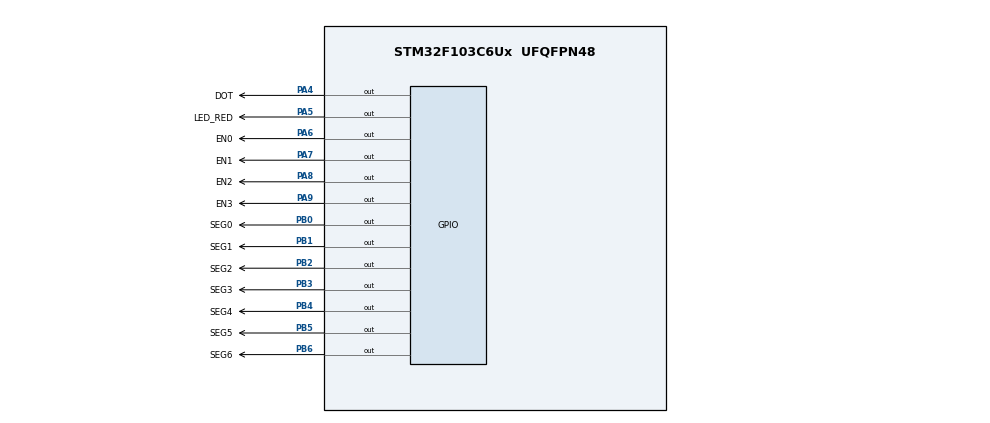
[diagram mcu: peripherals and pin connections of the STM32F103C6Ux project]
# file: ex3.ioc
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Mcu.Family=STM32F1
Mcu.Name=STM32F103C6Ux
Mcu.Package=UFQFPN48
NVIC.PriorityGroup=NVIC_PRIORITYGROUP_4
NVIC.TIM2_IRQn=true\:0\:0\:false\:false\:true\:true\:true
PA4.GPIO_Label=DOT
PA4.Signal=GPIO_Output
PA5.GPIO_Label=LED_RED
PA5.Signal=GPIO_Output
PA6.GPIO_Label=EN0
PA6.Signal=GPIO_Output
PA7.GPIO_Label=EN1
PA7.Signal=GPIO_Output
PA8.GPIO_Label=EN2
PA8.Signal=GPIO_Output
PA9.GPIO_Label=EN3
PA9.Signal=GPIO_Output
PB0.GPIO_Label=SEG0
PB0.Signal=GPIO_Output
PB1.GPIO_Label=SEG1
PB1.Signal=GPIO_Output
PB2.GPIO_Label=SEG2
PB2.Signal=GPIO_Output
PB3.GPIO_Label=SEG3
PB3.Signal=GPIO_Output
PB4.GPIO_Label=SEG4
PB4.Signal=GPIO_Output
PB5.GPIO_Label=SEG5
PB5.Signal=GPIO_Output
PB6.GPIO_Label=SEG6
PB6.Signal=GPIO_Output
ProjectManager.HeapSize=0x200
ProjectManager.StackSize=0x400
ProjectManager.TargetToolchain=STM32CubeIDE
RCC.APB1Freq_Value=8000000
RCC.APB2Freq_Value=8000000
TIM2.Period=9
TIM2.Prescaler=7999
VP_SYS_VS_ND.Mode=No_Debug
VP_TIM2_VS_ClockSourceINT.Mode=Internal
board=custom

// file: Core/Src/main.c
/* USER CODE BEGIN Header */
/**
  ******************************************************************************
  * @file           : main.c
  * @brief          : Main program body
  ******************************************************************************
  * @attention
  *
  * <h2><center>&copy; Copyright (c) 2023 STMicroelectronics.
  * All rights reserved.</center></h2>
  *
  * This software component is licensed by ST under BSD 3-Clause license,
  * the "License"; You may not use this file except in compliance with the
  * License. You may obtain a copy of the License at:
  *                        opensource.org/licenses/BSD-3-Clause
  *
  ******************************************************************************
  */
/* USER CODE END Header */
#include "main.h"

TIM_HandleTypeDef htim2;

void SystemClock_Config(void);
static void MX_GPIO_Init(void);
static void MX_TIM2_Init(void);

void display7SEG (int num, GPIO_TypeDef* LEDa_GPIO_Port, uint16_t LEDa_Pin,
		  GPIO_TypeDef* LEDb_GPIO_Port, uint16_t LEDb_Pin,
		  GPIO_TypeDef* LEDc_GPIO_Port, uint16_t LEDc_Pin,
		  GPIO_TypeDef* LEDd_GPIO_Port, uint16_t LEDd_Pin,
		  GPIO_TypeDef* LEDe_GPIO_Port, uint16_t LEDe_Pin,
		  GPIO_TypeDef* LEDf_GPIO_Port, uint16_t LEDf_Pin,
		  GPIO_TypeDef* LEDg_GPIO_Port, uint16_t LEDg_Pin)
  {
	  switch(num)
	  {
	  case 0:
		  HAL_GPIO_WritePin(LEDa_GPIO_Port, LEDa_Pin, GPIO_PIN_RESET);
		  HAL_GPIO_WritePin(LEDb_GPIO_Port, LEDb_Pin, GPIO_PIN_RESET);
		  HAL_GPIO_WritePin(LEDc_GPIO_Port, LEDc_Pin, GPIO_PIN_RESET);
		  HAL_GPIO_WritePin(LEDd_GPIO_Port, LEDd_Pin, GPIO_PIN_RESET);
		  HAL_GPIO_WritePin(LEDe_GPIO_Port, LEDe_Pin, GPIO_PIN_RESET);
		  HAL_GPIO_WritePin(LEDf_GPIO_Port, LEDf_Pin, GPIO_PIN_RESET);
		  HAL_GPIO_WritePin(LEDg_GPIO_Port, LEDg_Pin, GPIO_PIN_SET);
		  break;
	  case 1:
		  HAL_GPIO_WritePin(LEDa_GPIO_Port, LEDa_Pin, GPIO_PIN_SET);
		  HAL_GPIO_WritePin(LEDb_GPIO_Port, LEDb_Pin, GPIO_PIN_RESET);
		  HAL_GPIO_WritePin(LEDc_GPIO_Port, LEDc_Pin, GPIO_PIN_RESET);
		  HAL_GPIO_WritePin(LEDd_GPIO_Port, LEDd_Pin, GPIO_PIN_SET);
		  HAL_GPIO_WritePin(LEDe_GPIO_Port, LEDe_Pin, GPIO_PIN_SET);
		  HAL_GPIO_WritePin(LEDf_GPIO_Port, LEDf_Pin, GPIO_PIN_SET);
		  HAL_GPIO_WritePin(LEDg_GPIO_Port, LEDg_Pin, GPIO_PIN_SET);
		  break;
	  case 2:
		  HAL_GPIO_WritePin(LEDa_GPIO_Port, LEDa_Pin, GPIO_PIN_RESET);
		  HAL_GPIO_WritePin(LEDb_GPIO_Port, LEDb_Pin, GPIO_PIN_RESET);
		  HAL_GPIO_WritePin(LEDc_GPIO_Port, LEDc_Pin, GPIO_PIN_SET);
		  HAL_GPIO_WritePin(LEDd_GPIO_Port, LEDd_Pin, GPIO_PIN_RESET);
		  HAL_GPIO_WritePin(LEDe_GPIO_Port, LEDe_Pin, GPIO_PIN_RESET);
		  HAL_GPIO_WritePin(LEDf_GPIO_Port, LEDf_Pin, GPIO_PIN_SET);
		  HAL_GPIO_WritePin(LEDg_GPIO_Port, LEDg_Pin, GPIO_PIN_RESET);
		  break;
	  case 3:
		  HAL_GPIO_WritePin(LEDa_GPIO_Port, LEDa_Pin, GPIO_PIN_RESET);
		  HAL_GPIO_WritePin(LEDb_GPIO_Port, LEDb_Pin, GPIO_PIN_RESET);
		  HAL_GPIO_WritePin(LEDc_GPIO_Port, LEDc_Pin, GPIO_PIN_RESET);
		  HAL_GPIO_WritePin(LEDd_GPIO_Port, LEDd_Pin, GPIO_PIN_RESET);
		  HAL_GPIO_WritePin(LEDe_GPIO_Port, LEDe_Pin, GPIO_PIN_SET);
		  HAL_GPIO_WritePin(LEDf_GPIO_Port, LEDf_Pin, GPIO_PIN_SET);
		  HAL_GPIO_WritePin(LEDg_GPIO_Port, LEDg_Pin, GPIO_PIN_RESET);
		  break;
	  case 4:
		  HAL_GPIO_WritePin(LEDa_GPIO_Port, LEDa_Pin, GPIO_PIN_SET);
		  HAL_GPIO_WritePin(LEDb_GPIO_Port, LEDb_Pin, GPIO_PIN_RESET);
		  HAL_GPIO_WritePin(LEDc_GPIO_Port, LEDc_Pin, GPIO_PIN_RESET);
		  HAL_GPIO_WritePin(LEDd_GPIO_Port, LEDd_Pin, GPIO_PIN_SET);
		  HAL_GPIO_WritePin(LEDe_GPIO_Port, LEDe_Pin, GPIO_PIN_SET);
		  HAL_GPIO_WritePin(LEDf_GPIO_Port, LEDf_Pin, GPIO_PIN_RESET);
		  HAL_GPIO_WritePin(LEDg_GPIO_Port, LEDg_Pin, GPIO_PIN_RESET);
		  break;
	  case 5:
		  HAL_GPIO_WritePin(LEDa_GPIO_Port, LEDa_Pin, GPIO_PIN_RESET);
		  HAL_GPIO_WritePin(LEDb_GPIO_Port, LEDb_Pin, GPIO_PIN_SET);
		  HAL_GPIO_WritePin(LEDc_GPIO_Port, LEDc_Pin, GPIO_PIN_RESET);
		  HAL_GPIO_WritePin(LEDd_GPIO_Port, LEDd_Pin, GPIO_PIN_RESET);
		  HAL_GPIO_WritePin(LEDe_GPIO_Port, LEDe_Pin, GPIO_PIN_SET);
		  HAL_GPIO_WritePin(LEDf_GPIO_Port, LEDf_Pin, GPIO_PIN_RESET);
		  HAL_GPIO_WritePin(LEDg_GPIO_Port, LEDg_Pin, GPIO_PIN_RESET);
		  break;
	  case 6:
		  HAL_GPIO_WritePin(LEDa_GPIO_Port, LEDa_Pin, GPIO_PIN_RESET);
		  HAL_GPIO_WritePin(LEDb_GPIO_Port, LEDb_Pin, GPIO_PIN_SET);
		  HAL_GPIO_WritePin(LEDc_GPIO_Port, LEDc_Pin, GPIO_PIN_RESET);
		  HAL_GPIO_WritePin(LEDd_GPIO_Port, LEDd_Pin, GPIO_PIN_RESET);
		  HAL_GPIO_WritePin(LEDe_GPIO_Port, LEDe_Pin, GPIO_PIN_RESET);
		  HAL_GPIO_WritePin(LEDf_GPIO_Port, LEDf_Pin, GPIO_PIN_RESET);
		  HAL_GPIO_WritePin(LEDg_GPIO_Port, LEDg_Pin, GPIO_PIN_RESET);
		  break;
	  case 7:
		  HAL_GPIO_WritePin(LEDa_GPIO_Port, LEDa_Pin, GPIO_PIN_RESET);
		  HAL_GPIO_WritePin(LEDb_GPIO_Port, LEDb_Pin, GPIO_PIN_RESET);
		  HAL_GPIO_WritePin(LEDc_GPIO_Port, LEDc_Pin, GPIO_PIN_RESET);
		  HAL_GPIO_WritePin(LEDd_GPIO_Port, LEDd_Pin, GPIO_PIN_SET);
		  HAL_GPIO_WritePin(LEDe_GPIO_Port, LEDe_Pin, GPIO_PIN_SET);
		  HAL_GPIO_WritePin(LEDf_GPIO_Port, LEDf_Pin, GPIO_PIN_SET);
		  HAL_GPIO_WritePin(LEDg_GPIO_Port, LEDg_Pin, GPIO_PIN_SET);
		  break;
	  case 8:
		  HAL_GPIO_WritePin(LEDa_GPIO_Port, LEDa_Pin, GPIO_PIN_RESET);
		  HAL_GPIO_WritePin(LEDb_GPIO_Port, LEDb_Pin, GPIO_PIN_RESET);
		  HAL_GPIO_WritePin(LEDc_GPIO_Port, LEDc_Pin, GPIO_PIN_RESET);
		  HAL_GPIO_WritePin(LEDd_GPIO_Port, LEDd_Pin, GPIO_PIN_RESET);
		  HAL_GPIO_WritePin(LEDe_GPIO_Port, LEDe_Pin, GPIO_PIN_RESET);
		  HAL_GPIO_WritePin(LEDf_GPIO_Port, LEDf_Pin, GPIO_PIN_RESET);
		  HAL_GPIO_WritePin(LEDg_GPIO_Port, LEDg_Pin, GPIO_PIN_RESET);
		  break;
	  case 9:
		  HAL_GPIO_WritePin(LEDa_GPIO_Port, LEDa_Pin, GPIO_PIN_RESET);
		  HAL_GPIO_WritePin(LEDb_GPIO_Port, LEDb_Pin, GPIO_PIN_RESET);
		  HAL_GPIO_WritePin(LEDc_GPIO_Port, LEDc_Pin, GPIO_PIN_RESET);
		  HAL_GPIO_WritePin(LEDd_GPIO_Port, LEDd_Pin, GPIO_PIN_RESET);
		  HAL_GPIO_WritePin(LEDe_GPIO_Port, LEDe_Pin, GPIO_PIN_SET);
		  HAL_GPIO_WritePin(LEDf_GPIO_Port, LEDf_Pin, GPIO_PIN_RESET);
		  HAL_GPIO_WritePin(LEDg_GPIO_Port, LEDg_Pin, GPIO_PIN_RESET);
		  break;
	  }
  }
const int MAX_LED = 4;
int index_led = 0;
int led_buffer[4] = {0,6,3,0};
void update7SEG(int index){
	switch (index) {
		case 0:
			HAL_GPIO_WritePin(EN0_GPIO_Port, EN0_Pin, RESET);
			HAL_GPIO_WritePin(EN1_GPIO_Port, EN1_Pin, SET);
			HAL_GPIO_WritePin(EN2_GPIO_Port, EN2_Pin, SET);
			HAL_GPIO_WritePin(EN3_GPIO_Port, EN3_Pin, SET);
			break;
		case 1:
			HAL_GPIO_WritePin(EN0_GPIO_Port, EN0_Pin, SET);
			HAL_GPIO_WritePin(EN1_GPIO_Port, EN1_Pin, RESET);
			HAL_GPIO_WritePin(EN2_GPIO_Port, EN2_Pin, SET);
			HAL_GPIO_WritePin(EN3_GPIO_Port, EN3_Pin, SET);
			break;
		case 2:
			HAL_GPIO_WritePin(EN0_GPIO_Port, EN0_Pin, SET);
			HAL_GPIO_WritePin(EN1_GPIO_Port, EN1_Pin, SET);
			HAL_GPIO_WritePin(EN2_GPIO_Port, EN2_Pin, RESET);
			HAL_GPIO_WritePin(EN3_GPIO_Port, EN3_Pin, SET);
			break;
		case 3:
			HAL_GPIO_WritePin(EN0_GPIO_Port, EN0_Pin, SET);
			HAL_GPIO_WritePin(EN1_GPIO_Port, EN1_Pin, SET);
			HAL_GPIO_WritePin(EN2_GPIO_Port, EN2_Pin, SET);
			HAL_GPIO_WritePin(EN3_GPIO_Port, EN3_Pin, RESET);
			break;
		default:
			break;
	}
	display7SEG(led_buffer[index],SEG0_GPIO_Port, SEG0_Pin,
			SEG1_GPIO_Port, SEG1_Pin,
			SEG2_GPIO_Port, SEG2_Pin,
			SEG3_GPIO_Port, SEG3_Pin,
			SEG4_GPIO_Port, SEG4_Pin,
			SEG5_GPIO_Port, SEG5_Pin,
			SEG6_GPIO_Port, SEG6_Pin);
}
int main(void)
{

  /* MCU Configuration--------------------------------------------------------*/

  /* Reset of all peripherals, Initializes the Flash interface and the Systick. */
  HAL_Init();

  /* Configure the system clock */
  SystemClock_Config();

  /* Initialize all configured peripherals */
  MX_GPIO_Init();
  MX_TIM2_Init();
  /* USER CODE BEGIN 2 */
  HAL_TIM_Base_Start_IT(&htim2);

  /* USER CODE END 2 */

  /* Infinite loop */
  while (1)
  {
  }
}

void SystemClock_Config(void)
{
  RCC_OscInitTypeDef RCC_OscInitStruct = {0};
  RCC_ClkInitTypeDef RCC_ClkInitStruct = {0};

  /** Initializes the RCC Oscillators according to the specified parameters
  * in the RCC_OscInitTypeDef structure.
  */
  RCC_OscInitStruct.OscillatorType = RCC_OSCILLATORTYPE_HSI;
  RCC_OscInitStruct.HSIState = RCC_HSI_ON;
  RCC_OscInitStruct.HSICalibrationValue = RCC_HSICALIBRATION_DEFAULT;
  RCC_OscInitStruct.PLL.PLLState = RCC_PLL_NONE;
  if (HAL_RCC_OscConfig(&RCC_OscInitStruct) != HAL_OK)
  {
    Error_Handler();
  }
  /** Initializes the CPU, AHB and APB buses clocks
  */
  RCC_ClkInitStruct.ClockType = RCC_CLOCKTYPE_HCLK|RCC_CLOCKTYPE_SYSCLK
                              |RCC_CLOCKTYPE_PCLK1|RCC_CLOCKTYPE_PCLK2;
  RCC_ClkInitStruct.SYSCLKSource = RCC_SYSCLKSOURCE_HSI;
  RCC_ClkInitStruct.AHBCLKDivider = RCC_SYSCLK_DIV1;
  RCC_ClkInitStruct.APB1CLKDivider = RCC_HCLK_DIV1;
  RCC_ClkInitStruct.APB2CLKDivider = RCC_HCLK_DIV1;

  if (HAL_RCC_ClockConfig(&RCC_ClkInitStruct, FLASH_LATENCY_0) != HAL_OK)
  {
    Error_Handler();
  }
}

static void MX_TIM2_Init(void)
{

  TIM_ClockConfigTypeDef sClockSourceConfig = {0};
  TIM_MasterConfigTypeDef sMasterConfig = {0};

  htim2.Instance = TIM2;
  htim2.Init.Prescaler = 7999;
  htim2.Init.CounterMode = TIM_COUNTERMODE_UP;
  htim2.Init.Period = 9;
  htim2.Init.ClockDivision = TIM_CLOCKDIVISION_DIV1;
  htim2.Init.AutoReloadPreload = TIM_AUTORELOAD_PRELOAD_DISABLE;
  if (HAL_TIM_Base_Init(&htim2) != HAL_OK)
  {
    Error_Handler();
  }
  sClockSourceConfig.ClockSource = TIM_CLOCKSOURCE_INTERNAL;
  if (HAL_TIM_ConfigClockSource(&htim2, &sClockSourceConfig) != HAL_OK)
  {
    Error_Handler();
  }
  sMasterConfig.MasterOutputTrigger = TIM_TRGO_RESET;
  sMasterConfig.MasterSlaveMode = TIM_MASTERSLAVEMODE_DISABLE;
  if (HAL_TIMEx_MasterConfigSynchronization(&htim2, &sMasterConfig) != HAL_OK)
  {
    Error_Handler();
  }

}

static void MX_GPIO_Init(void)
{
  GPIO_InitTypeDef GPIO_InitStruct = {0};

  /* GPIO Ports Clock Enable */
  __HAL_RCC_GPIOA_CLK_ENABLE();
  __HAL_RCC_GPIOB_CLK_ENABLE();

  /*Configure GPIO pin Output Level */
  HAL_GPIO_WritePin(GPIOA, DOT_Pin|LED_RED_Pin|EN0_Pin|EN1_Pin
                          |EN2_Pin|EN3_Pin, GPIO_PIN_RESET);

  /*Configure GPIO pin Output Level */
  HAL_GPIO_WritePin(GPIOB, SEG0_Pin|SEG1_Pin|SEG2_Pin|SEG3_Pin
                          |SEG4_Pin|SEG5_Pin|SEG6_Pin, GPIO_PIN_RESET);

  /*Configure GPIO pins : DOT_Pin LED_RED_Pin EN0_Pin EN1_Pin
                           EN2_Pin EN3_Pin */
  GPIO_InitStruct.Pin = DOT_Pin|LED_RED_Pin|EN0_Pin|EN1_Pin
                          |EN2_Pin|EN3_Pin;
  GPIO_InitStruct.Mode = GPIO_MODE_OUTPUT_PP;
  GPIO_InitStruct.Pull = GPIO_NOPULL;
  GPIO_InitStruct.Speed = GPIO_SPEED_FREQ_LOW;
  HAL_GPIO_Init(GPIOA, &GPIO_InitStruct);

  /*Configure GPIO pins : SEG0_Pin SEG1_Pin SEG2_Pin SEG3_Pin
                           SEG4_Pin SEG5_Pin SEG6_Pin */
  GPIO_InitStruct.Pin = SEG0_Pin|SEG1_Pin|SEG2_Pin|SEG3_Pin
                          |SEG4_Pin|SEG5_Pin|SEG6_Pin;
  GPIO_InitStruct.Mode = GPIO_MODE_OUTPUT_PP;
  GPIO_InitStruct.Pull = GPIO_NOPULL;
  GPIO_InitStruct.Speed = GPIO_SPEED_FREQ_LOW;
  HAL_GPIO_Init(GPIOB, &GPIO_InitStruct);

}

/* USER CODE BEGIN 4 */
int counterDOT = 100;
int counterEN = 10;
void HAL_TIM_PeriodElapsedCallback(TIM_HandleTypeDef *htim)
{
	counterDOT--;
	if(counterDOT <= 0){
		counterDOT=100;
		HAL_GPIO_TogglePin(LED_RED_GPIO_Port, LED_RED_Pin);
		HAL_GPIO_TogglePin(DOT_GPIO_Port, DOT_Pin);
	}

	counterEN--;
	if(counterEN <= 0){
		counterEN=10;
		update7SEG(index_led++);
		if(index_led == MAX_LED){
			index_led=0;
		}
	}

}
/* USER CODE END 4 */

void Error_Handler(void)
{
  __disable_irq();
  while (1)
  {
  }
}

/************************ (C) COPYRIGHT STMicroelectronics *****END OF FILE****/
